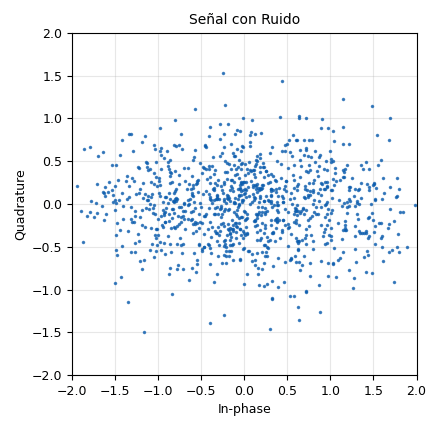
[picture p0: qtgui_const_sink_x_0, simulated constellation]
options:
  parameters:
    generate_options: qt_gui
    generator_class_name: PythonQtGuiGenerator
    generator_module: gnuradio.grc.workflows.python_qt_gui
    id: Lab4
    output_language: python
    title: Not titled yet
  states: {}

blocks:
- name: M
  id: variable
  parameters:
    value: '2'
  states: {}
- name: ebn0_db
  id: variable_qtgui_range
  parameters:
    start: '1'
    step: '1'
    stop: '11'
    value: '1'
  states: {}
- name: mi_constelacion
  id: variable_constellation
  parameters:
    const_points: '[-1, 1]'
    dims: '1'
    normalization: digital.constellation.AMPLITUDE_NORMALIZATION
    precision: '8'
    rot_sym: '4'
    sym_map: '[0, 1]'
    type: calcdist
  states: {}
- name: noise_voltage
  id: variable
  parameters:
    value: math.sqrt(1.0 / (2.0 * math.log(M, 2) * (10**(ebn0_db/10.0))))
  states: {}
- name: samp_rate
  id: variable
  parameters:
    value: '32000'
  states: {}
- name: analog_noise_source_x_0
  id: analog_noise_source_x
  parameters:
    amp: noise_voltage
    noise_type: analog.GR_GAUSSIAN
    seed: '0'
    type: complex
  states: {}
- name: analog_random_source_x_0
  id: analog_random_source_x
  parameters:
    max: M
    min: '0'
    num_samps: '1000'
    repeat: 'True'
    type: byte
  states: {}
- name: blocks_add_xx_0
  id: blocks_add_xx
  parameters:
    type: complex
  states: {}
- name: blocks_throttle2_0
  id: blocks_throttle2
  parameters:
    samples_per_second: samp_rate
    type: complex
  states: {}
- name: blocks_unpack_k_bits_bb_0
  id: blocks_unpack_k_bits_bb
  parameters:
    k: int(math.log(M, 2))
  states: {}
- name: blocks_unpack_k_bits_bb_1
  id: blocks_unpack_k_bits_bb
  parameters:
    k: int(math.log(M, 2))
  states: {}
- name: digital_chunks_to_symbols_xx_0
  id: digital_chunks_to_symbols_xx
  parameters:
    dimension: '2'
    in_type: byte
    out_type: complex
    symbol_table: mi_constelacion.points()
  states: {}
- name: digital_constellation_decoder_cb_0
  id: digital_constellation_decoder_cb
  parameters:
    constellation: mi_constelacion
  states: {}
- name: fec_ber_bf_0
  id: fec_ber_bf
  parameters:
    test_mode: 'False'
  states: {}
- name: import_0
  id: import
  parameters:
    imports: import math
  states: {}
- name: qtgui_const_sink_x_0
  id: qtgui_const_sink_x
  parameters:
    grid: 'True'
    name: '"Señal con Ruido"'
    size: '1024'
    type: complex
  states: {}
- name: qtgui_number_sink_0
  id: qtgui_number_sink
  parameters:
    graph_type: qtgui.NUM_GRAPH_HORIZ
    type: float
  states: {}

connections:
- [analog_noise_source_x_0, '0', blocks_add_xx_0, '1']
- [analog_random_source_x_0, '0', blocks_unpack_k_bits_bb_0, '0']
- [analog_random_source_x_0, '0', digital_chunks_to_symbols_xx_0, '0']
- [blocks_add_xx_0, '0', digital_constellation_decoder_cb_0, '0']
- [blocks_add_xx_0, '0', qtgui_const_sink_x_0, '0']
- [blocks_throttle2_0, '0', blocks_add_xx_0, '0']
- [blocks_unpack_k_bits_bb_0, '0', fec_ber_bf_0, '0']
- [blocks_unpack_k_bits_bb_1, '0', fec_ber_bf_0, '1']
- [digital_chunks_to_symbols_xx_0, '0', blocks_throttle2_0, '0']
- [digital_constellation_decoder_cb_0, '0', blocks_unpack_k_bits_bb_1, '0']
- [fec_ber_bf_0, '0', qtgui_number_sink_0, '0']

metadata:
  file_format: 1
  grc_version: 3.10.12.0
